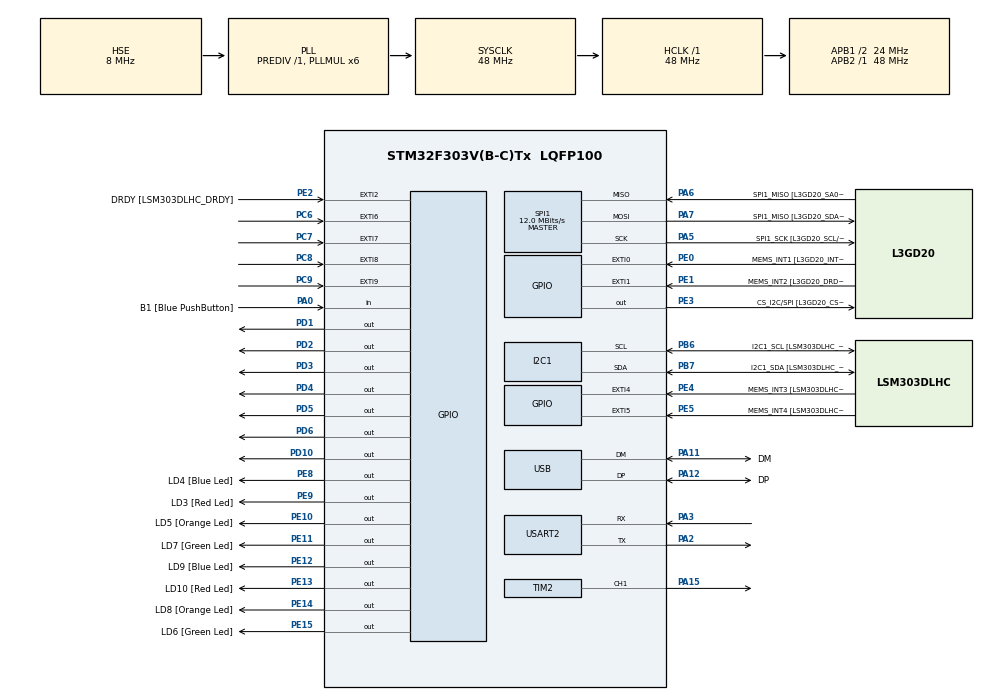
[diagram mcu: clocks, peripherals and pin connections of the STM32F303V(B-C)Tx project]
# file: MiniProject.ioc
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I2C1.Timing=0x2000090E
I2C1.Timing-I2C=0x2000090E
Mcu.Family=STM32F3
Mcu.Name=STM32F303V(B-C)Tx
Mcu.Package=LQFP100
NVIC.EXTI9_5_IRQn=true\:2\:0\:true\:false\:true\:true\:true\:true
NVIC.PriorityGroup=NVIC_PRIORITYGROUP_2
NVIC.TIM4_IRQn=true\:1\:0\:true\:false\:true\:true\:true\:true
NVIC.USART2_IRQn=true\:0\:0\:false\:false\:true\:true\:true\:true
PA0.GPIO_Label=B1 [Blue PushButton]
PA0.Signal=GPIO_Input
PA11.GPIO_Label=DM
PA11.Mode=Device
PA11.Signal=USB_DM
PA12.GPIO_Label=DP
PA12.Mode=Device
PA12.Signal=USB_DP
PA13.GPIO_Label=SWDIO
PA13.Mode=Serial_Wire
PA13.Signal=SYS_JTMS-SWDIO
PA14.GPIO_Label=SWCLK
PA14.Mode=Serial_Wire
PA14.Signal=SYS_JTCK-SWCLK
PA15.Signal=S_TIM2_CH1_ETR
PA2.Mode=Asynchronous
PA2.Signal=USART2_TX
PA3.Mode=Asynchronous
PA3.Signal=USART2_RX
PA5.GPIO_Label=SPI1_SCK [L3GD20_SCL/SPC]
PA5.Mode=Full_Duplex_Master
PA5.Signal=SPI1_SCK
PA6.GPIO_Label=SPI1_MISO [L3GD20_SA0/SDO]
PA6.Mode=Full_Duplex_Master
PA6.Signal=SPI1_MISO
PA7.GPIO_Label=SPI1_MISO [L3GD20_SDA/SDI/SDO]
PA7.Mode=Full_Duplex_Master
PA7.Signal=SPI1_MOSI
PB3.GPIO_Label=SWO
PB3.Signal=SYS_JTDO-TRACESWO
PB6.GPIO_Label=I2C1_SCL [LSM303DLHC_SCL]
PB6.GPIO_Pu=GPIO_PULLUP
PB6.Mode=I2C
PB6.Signal=I2C1_SCL
PB7.GPIO_Label=I2C1_SDA [LSM303DLHC_SDA]
PB7.GPIO_Pu=GPIO_PULLUP
PB7.Mode=I2C
PB7.Signal=I2C1_SDA
PC14-OSC32_IN.GPIO_Label=OSC32_IN
PC14-OSC32_IN.Signal=RCC_OSC32_IN
PC15-OSC32_OUT.GPIO_Label=OSC32_OUT
PC15-OSC32_OUT.Signal=RCC_OSC32_OUT
PC6.GPIO_ModeDefaultEXTI=GPIO_MODE_IT_FALLING
PC6.GPIO_PuPd=GPIO_PULLDOWN
PC6.Signal=GPXTI6
PC7.GPIO_ModeDefaultEXTI=GPIO_MODE_IT_FALLING
PC7.GPIO_PuPd=GPIO_PULLDOWN
PC7.Signal=GPXTI7
PC8.GPIO_ModeDefaultEXTI=GPIO_MODE_IT_FALLING
PC8.GPIO_PuPd=GPIO_PULLDOWN
PC8.Signal=GPXTI8
PC9.GPIO_ModeDefaultEXTI=GPIO_MODE_IT_FALLING
PC9.GPIO_PuPd=GPIO_PULLDOWN
PC9.Signal=GPXTI9
PD1.Signal=GPIO_Output
PD10.Signal=GPIO_Output
PD2.Signal=GPIO_Output
PD3.Signal=GPIO_Output
PD4.Signal=GPIO_Output
PD5.Signal=GPIO_Output
PD6.Signal=GPIO_Output
PE0.GPIO_Label=MEMS_INT1 [L3GD20_INT1]
PE0.GPIO_ModeDefaultEXTI=GPIO_MODE_EVT_RISING
PE0.Signal=GPXTI0
PE1.GPIO_Label=MEMS_INT2 [L3GD20_DRDY/INT2]
PE1.GPIO_ModeDefaultEXTI=GPIO_MODE_EVT_RISING
PE1.Signal=GPXTI1
PE10.GPIO_Label=LD5 [Orange Led]
PE10.Signal=GPIO_Output
PE11.GPIO_Label=LD7 [Green Led]
PE11.Signal=GPIO_Output
PE12.GPIO_Label=LD9 [Blue Led]
PE12.Signal=GPIO_Output
PE13.GPIO_Label=LD10 [Red Led]
PE13.Signal=GPIO_Output
PE14.GPIO_Label=LD8 [Orange Led]
PE14.Signal=GPIO_Output
PE15.GPIO_Label=LD6 [Green Led]
PE15.Signal=GPIO_Output
PE2.GPIO_Label=DRDY [LSM303DLHC_DRDY]
PE2.GPIO_ModeDefaultEXTI=GPIO_MODE_EVT_RISING
PE2.Signal=GPXTI2
PE3.GPIO_Label=CS_I2C/SPI [L3GD20_CS_I2C/SPI]
PE3.Signal=GPIO_Output
PE4.GPIO_Label=MEMS_INT3 [LSM303DLHC_INT1]
PE4.GPIO_ModeDefaultEXTI=GPIO_MODE_EVT_RISING
PE4.Signal=GPXTI4
PE5.GPIO_Label=MEMS_INT4 [LSM303DLHC_INT2]
PE5.GPIO_ModeDefaultEXTI=GPIO_MODE_EVT_RISING
PE5.Signal=GPXTI5
PE8.GPIO_Label=LD4 [Blue Led]
PE8.Signal=GPIO_Output
PE9.GPIO_Label=LD3 [Red Led]
PE9.Signal=GPIO_Output
PF0-OSC_IN.GPIO_Label=OSC_IN
PF0-OSC_IN.Mode=HSE-External-Clock-Source
PF0-OSC_IN.Signal=RCC_OSC_IN
PF1-OSC_OUT.GPIO_Label=OSC_OUT
PF1-OSC_OUT.Signal=RCC_OSC_OUT
ProjectManager.HeapSize=0x200
ProjectManager.StackSize=0x400
ProjectManager.TargetToolchain=STM32CubeIDE
RCC.AHBFreq_Value=48000000
RCC.APB1CLKDivider=RCC_HCLK_DIV2
RCC.APB1Freq_Value=24000000
RCC.APB1TimFreq_Value=48000000
RCC.APB2Freq_Value=48000000
RCC.APB2TimFreq_Value=48000000
RCC.CortexFreq_Value=48000000
RCC.HCLKFreq_Value=48000000
RCC.HSE_VALUE=8000000
RCC.HSI_VALUE=8000000
RCC.LSE_VALUE=32768
RCC.PLLMUL=RCC_PLL_MUL6
RCC.SYSCLKFreq_VALUE=48000000
RCC.SYSCLKSourceVirtual=RCC_SYSCLKSOURCE_PLLCLK
RCC.USBFreq_Value=48000000
SH.S_TIM2_CH1_ETR.0=TIM2_CH1,PWM Generation1 CH1
SPI1.BaudRatePrescaler=SPI_BAUDRATEPRESCALER_4
SPI1.BaudRatePrescaler-Full_Duplex_Master=SPI_BAUDRATEPRESCALER_2
SPI1.CalculateBaudRate=12.0 MBits/s
SPI1.CalculateBaudRate-Full_Duplex_Master=24.0 MBits/s
SPI1.Direction=SPI_DIRECTION_2LINES
SPI1.Mode=SPI_MODE_MASTER
SPI1.Mode-Full_Duplex_Master=SPI_MODE_MASTER
SPI1.VirtualType=VM_MASTER
TIM2.Channel-PWM\ Generation1\ CH1=TIM_CHANNEL_1
TIM4.Period=999
TIM4.Prescaler=143
USART2.VirtualMode-Asynchronous=VM_ASYNC
VP_TIM2_VS_ClockSourceINT.Mode=Internal
VP_TIM4_VS_ClockSourceINT.Mode=Internal
board=STM32F3DISCOVERY

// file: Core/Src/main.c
/* USER CODE BEGIN Header */
/**
  ******************************************************************************
  * @file           : main.c
  * @brief          : Main program body
  ******************************************************************************
  * @attention
  *
  * Copyright (c) 2022 STMicroelectronics.
  * All rights reserved.
  *
  * This software is licensed under terms that can be found in the LICENSE file
  * in the root directory of this software component.
  * If no LICENSE file comes with this software, it is provided AS-IS.
  *
  ******************************************************************************
  */
/* USER CODE END Header */
#include "main.h"

/* USER CODE BEGIN Includes */
#include "segment_utils.h"
#include "buzzer_player.h"
#include "elevator_state.h"
#include "admin.h"
#include "led_utils.h"
#include "message_sender.h"
/* USER CODE END Includes */

I2C_HandleTypeDef hi2c1;

SPI_HandleTypeDef hspi1;

TIM_HandleTypeDef htim2;
TIM_HandleTypeDef htim4;

UART_HandleTypeDef huart2;

PCD_HandleTypeDef hpcd_USB_FS;

/* USER CODE BEGIN PV */
Message_Sender message_sender;
LED_Util led_util;
Segment_Display display;
Buzzer_Player player;
Elevator_State state;
Admin admin;
uint8_t data[10];
//char dest[50];

TIM_HandleTypeDef *buzzerPwmTimer = &htim2;
int buzzerPwmChannel = TIM_CHANNEL_1;
/* USER CODE END PV */

void SystemClock_Config(void);
static void MX_GPIO_Init(void);
static void MX_I2C1_Init(void);
static void MX_SPI1_Init(void);
static void MX_USB_PCD_Init(void);
static void MX_TIM2_Init(void);
static void MX_TIM4_Init(void);
static void MX_USART2_UART_Init(void);

int main(void)
{

  /* MCU Configuration--------------------------------------------------------*/

  /* Reset of all peripherals, Initializes the Flash interface and the Systick. */
  HAL_Init();

  /* USER CODE BEGIN Init */
  init_admin(&admin);
  init_segment_display(&display);
  init_buzzer_player(&player, buzzerPwmTimer, buzzerPwmChannel);
  init_elevator_state(&state);
  init_led_util(&led_util);
  init_message_sender(&message_sender);

  // add 9 floor
  for (int i = 0; i < 9; ++ i) {
	  append_floor_detail(&state);
  }

  /* USER CODE END Init */

  /* Configure the system clock */
  SystemClock_Config();

  /* Initialize all configured peripherals */
  MX_GPIO_Init();
  MX_I2C1_Init();
  MX_SPI1_Init();
  MX_USB_PCD_Init();
  MX_TIM2_Init();
  MX_TIM4_Init();
  MX_USART2_UART_Init();
  /* USER CODE BEGIN 2 */
  HAL_TIM_PWM_Start(buzzerPwmTimer, buzzerPwmChannel);
  HAL_TIM_Base_Start_IT(&htim4);
  HAL_UART_Receive_IT(&huart2, data, 10);

//  int last = 0;

  /* USER CODE END 2 */

  /* Infinite loop */
  while (1)
  {

    /* USER CODE BEGIN 3 */
//	  if (HAL_GetTick() - last > 3000) {
////		  char dest[50] = "";
////		  itoa(state.between_floor_duration, dest, 10);
//
////		  strcat(dest, data);
//		  HAL_UART_Transmit(&huart2, dest, sizeof(dest), 1000);
//		  last = HAL_GetTick();
//	  }

  }
  /* USER CODE END 3 */
}

void SystemClock_Config(void)
{
  RCC_OscInitTypeDef RCC_OscInitStruct = {0};
  RCC_ClkInitTypeDef RCC_ClkInitStruct = {0};
  RCC_PeriphCLKInitTypeDef PeriphClkInit = {0};

  /** Initializes the RCC Oscillators according to the specified parameters
  * in the RCC_OscInitTypeDef structure.
  */
  RCC_OscInitStruct.OscillatorType = RCC_OSCILLATORTYPE_HSI|RCC_OSCILLATORTYPE_HSE;
  RCC_OscInitStruct.HSEState = RCC_HSE_BYPASS;
  RCC_OscInitStruct.HSEPredivValue = RCC_HSE_PREDIV_DIV1;
  RCC_OscInitStruct.HSIState = RCC_HSI_ON;
  RCC_OscInitStruct.HSICalibrationValue = RCC_HSICALIBRATION_DEFAULT;
  RCC_OscInitStruct.PLL.PLLState = RCC_PLL_ON;
  RCC_OscInitStruct.PLL.PLLSource = RCC_PLLSOURCE_HSE;
  RCC_OscInitStruct.PLL.PLLMUL = RCC_PLL_MUL6;
  if (HAL_RCC_OscConfig(&RCC_OscInitStruct) != HAL_OK)
  {
    Error_Handler();
  }

  /** Initializes the CPU, AHB and APB buses clocks
  */
  RCC_ClkInitStruct.ClockType = RCC_CLOCKTYPE_HCLK|RCC_CLOCKTYPE_SYSCLK
                              |RCC_CLOCKTYPE_PCLK1|RCC_CLOCKTYPE_PCLK2;
  RCC_ClkInitStruct.SYSCLKSource = RCC_SYSCLKSOURCE_PLLCLK;
  RCC_ClkInitStruct.AHBCLKDivider = RCC_SYSCLK_DIV1;
  RCC_ClkInitStruct.APB1CLKDivider = RCC_HCLK_DIV2;
  RCC_ClkInitStruct.APB2CLKDivider = RCC_HCLK_DIV1;

  if (HAL_RCC_ClockConfig(&RCC_ClkInitStruct, FLASH_LATENCY_1) != HAL_OK)
  {
    Error_Handler();
  }
  PeriphClkInit.PeriphClockSelection = RCC_PERIPHCLK_USB|RCC_PERIPHCLK_USART2
                              |RCC_PERIPHCLK_I2C1;
  PeriphClkInit.Usart2ClockSelection = RCC_USART2CLKSOURCE_PCLK1;
  PeriphClkInit.I2c1ClockSelection = RCC_I2C1CLKSOURCE_HSI;
  PeriphClkInit.USBClockSelection = RCC_USBCLKSOURCE_PLL;
  if (HAL_RCCEx_PeriphCLKConfig(&PeriphClkInit) != HAL_OK)
  {
    Error_Handler();
  }
}

static void MX_I2C1_Init(void)
{

  hi2c1.Instance = I2C1;
  hi2c1.Init.Timing = 0x2000090E;
  hi2c1.Init.OwnAddress1 = 0;
  hi2c1.Init.AddressingMode = I2C_ADDRESSINGMODE_7BIT;
  hi2c1.Init.DualAddressMode = I2C_DUALADDRESS_DISABLE;
  hi2c1.Init.OwnAddress2 = 0;
  hi2c1.Init.OwnAddress2Masks = I2C_OA2_NOMASK;
  hi2c1.Init.GeneralCallMode = I2C_GENERALCALL_DISABLE;
  hi2c1.Init.NoStretchMode = I2C_NOSTRETCH_DISABLE;
  if (HAL_I2C_Init(&hi2c1) != HAL_OK)
  {
    Error_Handler();
  }

  /** Configure Analogue filter
  */
  if (HAL_I2CEx_ConfigAnalogFilter(&hi2c1, I2C_ANALOGFILTER_ENABLE) != HAL_OK)
  {
    Error_Handler();
  }

  /** Configure Digital filter
  */
  if (HAL_I2CEx_ConfigDigitalFilter(&hi2c1, 0) != HAL_OK)
  {
    Error_Handler();
  }

}

static void MX_SPI1_Init(void)
{

  /* SPI1 parameter configuration*/
  hspi1.Instance = SPI1;
  hspi1.Init.Mode = SPI_MODE_MASTER;
  hspi1.Init.Direction = SPI_DIRECTION_2LINES;
  hspi1.Init.DataSize = SPI_DATASIZE_4BIT;
  hspi1.Init.CLKPolarity = SPI_POLARITY_LOW;
  hspi1.Init.CLKPhase = SPI_PHASE_1EDGE;
  hspi1.Init.NSS = SPI_NSS_SOFT;
  hspi1.Init.BaudRatePrescaler = SPI_BAUDRATEPRESCALER_4;
  hspi1.Init.FirstBit = SPI_FIRSTBIT_MSB;
  hspi1.Init.TIMode = SPI_TIMODE_DISABLE;
  hspi1.Init.CRCCalculation = SPI_CRCCALCULATION_DISABLE;
  hspi1.Init.CRCPolynomial = 7;
  hspi1.Init.CRCLength = SPI_CRC_LENGTH_DATASIZE;
  hspi1.Init.NSSPMode = SPI_NSS_PULSE_ENABLE;
  if (HAL_SPI_Init(&hspi1) != HAL_OK)
  {
    Error_Handler();
  }

}

static void MX_TIM2_Init(void)
{

  TIM_ClockConfigTypeDef sClockSourceConfig = {0};
  TIM_MasterConfigTypeDef sMasterConfig = {0};
  TIM_OC_InitTypeDef sConfigOC = {0};

  htim2.Instance = TIM2;
  htim2.Init.Prescaler = 0;
  htim2.Init.CounterMode = TIM_COUNTERMODE_UP;
  htim2.Init.Period = 4294967295;
  htim2.Init.ClockDivision = TIM_CLOCKDIVISION_DIV1;
  htim2.Init.AutoReloadPreload = TIM_AUTORELOAD_PRELOAD_DISABLE;
  if (HAL_TIM_Base_Init(&htim2) != HAL_OK)
  {
    Error_Handler();
  }
  sClockSourceConfig.ClockSource = TIM_CLOCKSOURCE_INTERNAL;
  if (HAL_TIM_ConfigClockSource(&htim2, &sClockSourceConfig) != HAL_OK)
  {
    Error_Handler();
  }
  if (HAL_TIM_PWM_Init(&htim2) != HAL_OK)
  {
    Error_Handler();
  }
  sMasterConfig.MasterOutputTrigger = TIM_TRGO_RESET;
  sMasterConfig.MasterSlaveMode = TIM_MASTERSLAVEMODE_DISABLE;
  if (HAL_TIMEx_MasterConfigSynchronization(&htim2, &sMasterConfig) != HAL_OK)
  {
    Error_Handler();
  }
  sConfigOC.OCMode = TIM_OCMODE_PWM1;
  sConfigOC.Pulse = 0;
  sConfigOC.OCPolarity = TIM_OCPOLARITY_HIGH;
  sConfigOC.OCFastMode = TIM_OCFAST_DISABLE;
  if (HAL_TIM_PWM_ConfigChannel(&htim2, &sConfigOC, TIM_CHANNEL_1) != HAL_OK)
  {
    Error_Handler();
  }
  HAL_TIM_MspPostInit(&htim2);

}

static void MX_TIM4_Init(void)
{

  TIM_ClockConfigTypeDef sClockSourceConfig = {0};
  TIM_MasterConfigTypeDef sMasterConfig = {0};

  htim4.Instance = TIM4;
  htim4.Init.Prescaler = 143;
  htim4.Init.CounterMode = TIM_COUNTERMODE_UP;
  htim4.Init.Period = 999;
  htim4.Init.ClockDivision = TIM_CLOCKDIVISION_DIV1;
  htim4.Init.AutoReloadPreload = TIM_AUTORELOAD_PRELOAD_DISABLE;
  if (HAL_TIM_Base_Init(&htim4) != HAL_OK)
  {
    Error_Handler();
  }
  sClockSourceConfig.ClockSource = TIM_CLOCKSOURCE_INTERNAL;
  if (HAL_TIM_ConfigClockSource(&htim4, &sClockSourceConfig) != HAL_OK)
  {
    Error_Handler();
  }
  sMasterConfig.MasterOutputTrigger = TIM_TRGO_RESET;
  sMasterConfig.MasterSlaveMode = TIM_MASTERSLAVEMODE_DISABLE;
  if (HAL_TIMEx_MasterConfigSynchronization(&htim4, &sMasterConfig) != HAL_OK)
  {
    Error_Handler();
  }

}

static void MX_USART2_UART_Init(void)
{

  huart2.Instance = USART2;
  huart2.Init.BaudRate = 38400;
  huart2.Init.WordLength = UART_WORDLENGTH_8B;
  huart2.Init.StopBits = UART_STOPBITS_1;
  huart2.Init.Parity = UART_PARITY_NONE;
  huart2.Init.Mode = UART_MODE_TX_RX;
  huart2.Init.HwFlowCtl = UART_HWCONTROL_NONE;
  huart2.Init.OverSampling = UART_OVERSAMPLING_16;
  huart2.Init.OneBitSampling = UART_ONE_BIT_SAMPLE_DISABLE;
  huart2.AdvancedInit.AdvFeatureInit = UART_ADVFEATURE_NO_INIT;
  if (HAL_UART_Init(&huart2) != HAL_OK)
  {
    Error_Handler();
  }

}

static void MX_USB_PCD_Init(void)
{

  hpcd_USB_FS.Instance = USB;
  hpcd_USB_FS.Init.dev_endpoints = 8;
  hpcd_USB_FS.Init.speed = PCD_SPEED_FULL;
  hpcd_USB_FS.Init.phy_itface = PCD_PHY_EMBEDDED;
  hpcd_USB_FS.Init.low_power_enable = DISABLE;
  hpcd_USB_FS.Init.battery_charging_enable = DISABLE;
  if (HAL_PCD_Init(&hpcd_USB_FS) != HAL_OK)
  {
    Error_Handler();
  }

}

static void MX_GPIO_Init(void)
{
  GPIO_InitTypeDef GPIO_InitStruct = {0};

  /* GPIO Ports Clock Enable */
  __HAL_RCC_GPIOE_CLK_ENABLE();
  __HAL_RCC_GPIOC_CLK_ENABLE();
  __HAL_RCC_GPIOF_CLK_ENABLE();
  __HAL_RCC_GPIOA_CLK_ENABLE();
  __HAL_RCC_GPIOD_CLK_ENABLE();
  __HAL_RCC_GPIOB_CLK_ENABLE();

  /*Configure GPIO pin Output Level */
  HAL_GPIO_WritePin(GPIOE, CS_I2C_SPI_Pin|LD4_Pin|LD3_Pin|LD5_Pin
                          |LD7_Pin|LD9_Pin|LD10_Pin|LD8_Pin
                          |LD6_Pin, GPIO_PIN_RESET);

  /*Configure GPIO pin Output Level */
  HAL_GPIO_WritePin(GPIOD, GPIO_PIN_10|GPIO_PIN_1|GPIO_PIN_2|GPIO_PIN_3
                          |GPIO_PIN_4|GPIO_PIN_5|GPIO_PIN_6, GPIO_PIN_RESET);

  /*Configure GPIO pins : DRDY_Pin MEMS_INT3_Pin MEMS_INT4_Pin MEMS_INT1_Pin
                           MEMS_INT2_Pin */
  GPIO_InitStruct.Pin = DRDY_Pin|MEMS_INT3_Pin|MEMS_INT4_Pin|MEMS_INT1_Pin
                          |MEMS_INT2_Pin;
  GPIO_InitStruct.Mode = GPIO_MODE_EVT_RISING;
  GPIO_InitStruct.Pull = GPIO_NOPULL;
  HAL_GPIO_Init(GPIOE, &GPIO_InitStruct);

  /*Configure GPIO pins : CS_I2C_SPI_Pin LD4_Pin LD3_Pin LD5_Pin
                           LD7_Pin LD9_Pin LD10_Pin LD8_Pin
                           LD6_Pin */
  GPIO_InitStruct.Pin = CS_I2C_SPI_Pin|LD4_Pin|LD3_Pin|LD5_Pin
                          |LD7_Pin|LD9_Pin|LD10_Pin|LD8_Pin
                          |LD6_Pin;
  GPIO_InitStruct.Mode = GPIO_MODE_OUTPUT_PP;
  GPIO_InitStruct.Pull = GPIO_NOPULL;
  GPIO_InitStruct.Speed = GPIO_SPEED_FREQ_LOW;
  HAL_GPIO_Init(GPIOE, &GPIO_InitStruct);

  /*Configure GPIO pin : B1_Pin */
  GPIO_InitStruct.Pin = B1_Pin;
  GPIO_InitStruct.Mode = GPIO_MODE_INPUT;
  GPIO_InitStruct.Pull = GPIO_NOPULL;
  HAL_GPIO_Init(B1_GPIO_Port, &GPIO_InitStruct);

  /*Configure GPIO pins : PD10 PD1 PD2 PD3
                           PD4 PD5 PD6 */
  GPIO_InitStruct.Pin = GPIO_PIN_10|GPIO_PIN_1|GPIO_PIN_2|GPIO_PIN_3
                          |GPIO_PIN_4|GPIO_PIN_5|GPIO_PIN_6;
  GPIO_InitStruct.Mode = GPIO_MODE_OUTPUT_PP;
  GPIO_InitStruct.Pull = GPIO_NOPULL;
  GPIO_InitStruct.Speed = GPIO_SPEED_FREQ_LOW;
  HAL_GPIO_Init(GPIOD, &GPIO_InitStruct);

  /*Configure GPIO pins : PC6 PC7 PC8 PC9 */
  GPIO_InitStruct.Pin = GPIO_PIN_6|GPIO_PIN_7|GPIO_PIN_8|GPIO_PIN_9;
  GPIO_InitStruct.Mode = GPIO_MODE_IT_FALLING;
  GPIO_InitStruct.Pull = GPIO_PULLDOWN;
  HAL_GPIO_Init(GPIOC, &GPIO_InitStruct);

  /* EXTI interrupt init*/
  HAL_NVIC_SetPriority(EXTI9_5_IRQn, 2, 0);
  HAL_NVIC_EnableIRQ(EXTI9_5_IRQn);

}

void Error_Handler(void)
{
  __disable_irq();
  while (1)
  {
  }
}
